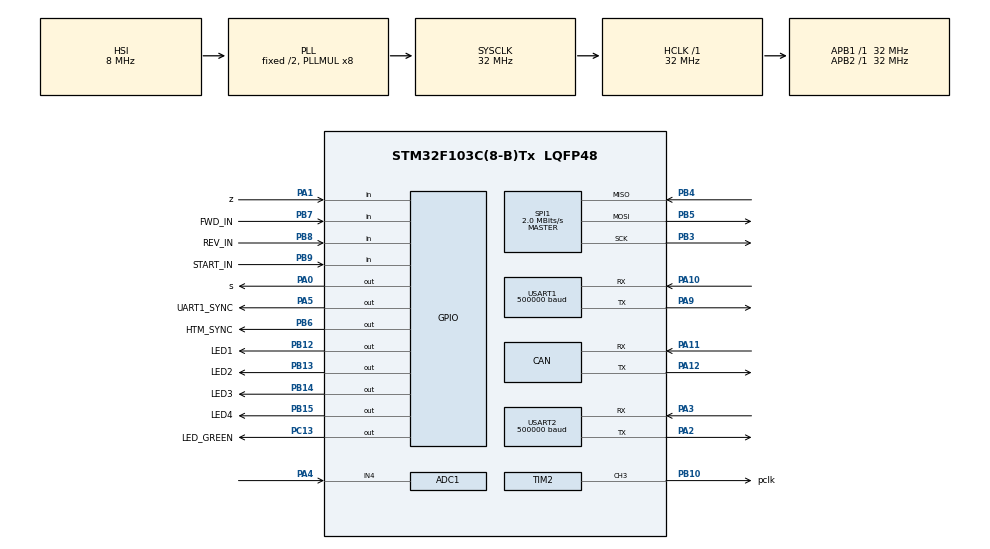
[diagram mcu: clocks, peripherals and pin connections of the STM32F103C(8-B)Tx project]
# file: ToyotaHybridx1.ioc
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ADC1.Channel-3\#ChannelRegularConversion=ADC_CHANNEL_4
ADC1.NbrOfConversionFlag=1
ADC1.Rank-3\#ChannelRegularConversion=1
ADC1.SamplingTime-3\#ChannelRegularConversion=ADC_SAMPLETIME_1CYCLE_5
ADC1.master=1
CAN.CalculateTimeBit=1500
CAN.CalculateTimeQuantum=500.0
Dma.Request0=SPI1_RX
Dma.Request1=SPI1_TX
Dma.SPI1_RX.0.Direction=DMA_PERIPH_TO_MEMORY
Dma.SPI1_RX.0.Instance=DMA1_Channel2
Dma.SPI1_RX.0.MemDataAlignment=DMA_MDATAALIGN_BYTE
Dma.SPI1_RX.0.MemInc=DMA_MINC_ENABLE
Dma.SPI1_RX.0.Mode=DMA_NORMAL
Dma.SPI1_RX.0.PeriphDataAlignment=DMA_PDATAALIGN_BYTE
Dma.SPI1_RX.0.PeriphInc=DMA_PINC_DISABLE
Dma.SPI1_RX.0.Priority=DMA_PRIORITY_LOW
Dma.SPI1_TX.1.Direction=DMA_MEMORY_TO_PERIPH
Dma.SPI1_TX.1.Instance=DMA1_Channel3
Dma.SPI1_TX.1.MemDataAlignment=DMA_MDATAALIGN_BYTE
Dma.SPI1_TX.1.MemInc=DMA_MINC_ENABLE
Dma.SPI1_TX.1.Mode=DMA_NORMAL
Dma.SPI1_TX.1.PeriphDataAlignment=DMA_PDATAALIGN_BYTE
Dma.SPI1_TX.1.PeriphInc=DMA_PINC_DISABLE
Dma.SPI1_TX.1.Priority=DMA_PRIORITY_LOW
Mcu.Family=STM32F1
Mcu.Name=STM32F103C(8-B)Tx
Mcu.Package=LQFP48
NVIC.DMA1_Channel2_IRQn=true\:0\:0\:false\:false\:true\:false\:true
NVIC.DMA1_Channel3_IRQn=true\:0\:0\:false\:false\:true\:false\:true
NVIC.PriorityGroup=NVIC_PRIORITYGROUP_4
NVIC.TIM1_UP_IRQn=true\:0\:0\:false\:false\:true\:false\:true
NVIC.TIM2_IRQn=true\:0\:0\:false\:false\:true\:true\:true
NVIC.TimeBase=TIM1_UP_IRQn
NVIC.TimeBaseIP=TIM1
NVIC.USART1_IRQn=true\:0\:0\:false\:false\:true\:true\:true
NVIC.USART2_IRQn=true\:0\:0\:false\:false\:true\:true\:false
PA0-WKUP.GPIO_Label=s
PA0-WKUP.Signal=GPIO_Output
PA1.GPIO_Label=z
PA1.Signal=GPIO_Input
PA10.Mode=Asynchronous
PA10.Signal=USART1_RX
PA11.Mode=Master
PA11.Signal=CAN_RX
PA12.Mode=Master
PA12.Signal=CAN_TX
PA13.Mode=Serial_Wire
PA13.Signal=SYS_JTMS-SWDIO
PA14.Mode=Serial_Wire
PA14.Signal=SYS_JTCK-SWCLK
PA2.Mode=Asynchronous
PA2.Signal=USART2_TX
PA3.Mode=Asynchronous
PA3.Signal=USART2_RX
PA4.Signal=ADCx_IN4
PA5.GPIO_Label=UART1_SYNC
PA5.Signal=GPIO_Output
PA9.Mode=Asynchronous
PA9.Signal=USART1_TX
PB10.GPIO_Label=pclk
PB10.Signal=S_TIM2_CH3
PB12.GPIO_Label=LED1
PB12.Signal=GPIO_Output
PB13.GPIO_Label=LED2
PB13.Signal=GPIO_Output
PB14.GPIO_Label=LED3
PB14.Signal=GPIO_Output
PB15.GPIO_Label=LED4
PB15.Signal=GPIO_Output
PB3.Mode=Full_Duplex_Master
PB3.Signal=SPI1_SCK
PB4.Mode=Full_Duplex_Master
PB4.Signal=SPI1_MISO
PB5.Mode=Full_Duplex_Master
PB5.Signal=SPI1_MOSI
PB6.GPIO_Label=HTM_SYNC
PB6.Signal=GPIO_Output
PB7.GPIO_Label=FWD_IN
PB7.GPIO_PuPd=GPIO_PULLUP
PB7.Signal=GPIO_Input
PB8.GPIO_Label=REV_IN
PB8.GPIO_PuPd=GPIO_PULLUP
PB8.Signal=GPIO_Input
PB9.GPIO_Label=START_IN
PB9.GPIO_PuPd=GPIO_PULLUP
PB9.Signal=GPIO_Input
PC13-TAMPER-RTC.GPIO_Label=LED_GREEN
PC13-TAMPER-RTC.Signal=GPIO_Output
ProjectManager.HeapSize=0x200
ProjectManager.StackSize=0x400
ProjectManager.TargetToolchain=TrueSTUDIO
RCC.ADCPresc=RCC_ADCPCLK2_DIV8
RCC.AHBFreq_Value=32000000
RCC.APB1Freq_Value=32000000
RCC.APB1TimFreq_Value=32000000
RCC.APB2Freq_Value=32000000
RCC.APB2TimFreq_Value=32000000
RCC.HCLKFreq_Value=32000000
RCC.PLLMUL=RCC_PLL_MUL8
RCC.SYSCLKFreq_VALUE=32000000
RCC.SYSCLKSource=RCC_SYSCLKSOURCE_PLLCLK
RCC.USBFreq_Value=32000000
SH.ADCx_IN4.0=ADC1_IN4,IN4
SH.S_TIM2_CH3.0=TIM2_CH3,PWM Generation3 CH3
SPI1.BaudRatePrescaler=SPI_BAUDRATEPRESCALER_16
SPI1.CLKPhase=SPI_PHASE_2EDGE
SPI1.CLKPolarity=SPI_POLARITY_LOW
SPI1.CalculateBaudRate=2.0 MBits/s
SPI1.DataSize=SPI_DATASIZE_8BIT
SPI1.Direction=SPI_DIRECTION_2LINES
SPI1.FirstBit=SPI_FIRSTBIT_LSB
SPI1.Mode=SPI_MODE_MASTER
SPI1.VirtualType=VM_MASTER
TIM2.Channel-PWM\ Generation3\ CH3=TIM_CHANNEL_3
TIM2.Period=63
TIM2.Pulse-PWM\ Generation3\ CH3=32
TIM2.TIM_MasterOutputTrigger=TIM_TRGO_UPDATE
TIM3.Period=1000
TIM3.Prescaler=20000
USART1.BaudRate=500000
USART1.VirtualMode=VM_ASYNC
USART2.BaudRate=500000
USART2.VirtualMode=VM_ASYNC
VP_SYS_VS_tim1.Mode=TIM1
VP_TIM2_VS_ClockSourceINT.Mode=Internal
VP_TIM3_VS_ClockSourceINT.Mode=Internal
VP_TIM3_VS_OPM.Mode=OPM_bit
board=custom

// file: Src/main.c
/* USER CODE BEGIN Header */
/**
  ******************************************************************************
  * @file           : main.c
  * @brief          : Main program body
  ******************************************************************************
  * @attention
  *
  * <h2><center>&copy; Copyright (c) 2019 STMicroelectronics.
  * All rights reserved.</center></h2>
  *
  * This software component is licensed by ST under Ultimate Liberty license
  * SLA0044, the "License"; You may not use this file except in compliance with
  * the License. You may obtain a copy of the License at:
  *                             www.st.com/SLA0044
  *
  ******************************************************************************
  */
/* USER CODE END Header */

#include "main.h"

/* USER CODE BEGIN Includes */
#include <string.h>
//#include <stdio.h>
/* USER CODE END Includes */

ADC_HandleTypeDef hadc1;

CAN_HandleTypeDef hcan;

SPI_HandleTypeDef hspi1;
DMA_HandleTypeDef hdma_spi1_rx;
DMA_HandleTypeDef hdma_spi1_tx;

TIM_HandleTypeDef htim2;
TIM_HandleTypeDef htim3;

UART_HandleTypeDef huart1;
UART_HandleTypeDef huart2;

void SystemClock_Config(void);
static void MX_GPIO_Init(void);
static void MX_DMA_Init(void);
static void MX_USART1_UART_Init(void);
static void MX_CAN_Init(void);
static void MX_TIM3_Init(void);
static void MX_USART2_UART_Init(void);
static void MX_SPI1_Init(void);
static void MX_TIM2_Init(void);
static void MX_ADC1_Init(void);
/* USER CODE BEGIN PFP */
//uint8_t htm_data[80];
uint8_t mth_data[200]={};
uint8_t dma_complete;

uint8_t htm_state = 0;

//80 bytes out and 100 bytes back in (with offset of 8 bytes.
uint8_t htm_data_setup[80]={0,0,0,0,0,0,0,0,0,0,0,0,0,0,0,0,4,0,0,0,0,0,0,0,0,0,0,0,0,0,0,0,0,0,0,0,0,4,0,0,0,0,0,0,0,0,0,0,0,0,0,0,0,0,0,0,0,0,0,0,4,0,25,0,0,0,0,0,0,0,128,0,0,0,128,0,0,0,37,1};
uint8_t htm_data[80]={0,0,0,0,0,0,0,0,0,0,0,0,0,0,0,0,0,0,0,0,0,0,0,0,0,0,0,0,0,0,0,0,0,0,0,0,0,0,0,0,0,0,0,0,0,0,0,0,0,0,0,0,0,0,0,0,0,0,0,0,0,0,0,0,0,0,0,0,0,0,255,0,0,0,0,0,0,0,0,0};

uint8_t CalcMTHChecksum(void);
void CalcHTMChecksum(void);

void UpdateHTMState1Ms(void);
void UpdateHTMParams(void);

float CalcTemp(uint32_t raw);
uint16_t PackHTMData(uint8_t *, uint8_t *, uint16_t );
uint16_t UnpackMTHData(uint8_t *, uint8_t *, uint16_t, uint16_t );

#define MG2MAXSPEED 10000

#if __GNUC__
  /* With GCC/RAISONANCE, small printf (option LD Linker->Libraries->Small printf
     set to 'Yes') calls __io_putchar() */
  #define PUTCHAR_PROTOTYPE int __io_putchar(int ch)
#else
  #define PUTCHAR_PROTOTYPE int fputc(int ch, FILE *f)
#endif /* __GNUC__ */

/* USER CODE END PFP */

/* USER CODE BEGIN 0 */

uint16_t counter, rx_buffer_count;
;
uint8_t uart1_rx_buffer[10], uart2_rx_buffer[10];

enum{
	PARK,
	REVERSE,
	NEUTRAL,
	DRIVE
};

void get_gear();

uint16_t get_torque(uint8_t gear);

long map(long x, long in_min, long in_max, long out_min, long out_max);

#define MAX_COMMAND_SIZE 200

void HAL_UART_RxCpltCallback(UART_HandleTypeDef *huart){

	 if ( huart->Instance == USART2 ){

			if(rx_buffer_count<MAX_COMMAND_SIZE){

				mth_data[rx_buffer_count]=uart2_rx_buffer[0];
				rx_buffer_count++;
			}

			HAL_UART_Receive_IT(&huart2,uart2_rx_buffer,1);

	 }

}

/**
  * @brief  Retargets the C library printf function to the USART.
  * @param  None
  * @retval None
  */
PUTCHAR_PROTOTYPE
{
  /* Place your implementation of fputc here */
  /* e.g. write a character to the EVAL_COM1 and Loop until the end of transmission */
 // HAL_UART_Transmit(&huart1, (uint8_t *)&ch, 1, 0xFFFF);

  return ch;
}
int _write(int file, char *ptr, int len)
{
	int DataIdx;

	for (DataIdx = 0; DataIdx < len; DataIdx++)
	{
		__io_putchar(*ptr++);
	}
	return len;
}

uint8_t txDat[256]={0};
uint8_t rxDat[256]={0};

static uint16_t htm_checksum;
static int16_t dc_bus_voltage,temp_inv_water, temp_inv_inductor, mg1_speed, mg2_speed;
static int16_t mg1_torque, mg2_torque, speedSum;
static uint8_t gear;
static uint8_t inv_status = 1;

/* USER CODE END 0 */

int main(void)
{

  /* MCU Configuration--------------------------------------------------------*/

  /* Reset of all peripherals, Initializes the Flash interface and the Systick. */
  HAL_Init();

  /* Configure the system clock */
  SystemClock_Config();

  /* Initialize all configured peripherals */
  MX_GPIO_Init();
  MX_DMA_Init();
  MX_USART1_UART_Init();
  MX_CAN_Init();
  MX_TIM3_Init();
  MX_USART2_UART_Init();
  MX_SPI1_Init();
  MX_TIM2_Init();
  MX_ADC1_Init();
  /* USER CODE BEGIN 2 */

 // HAL_ADC_Start_DMA(&hadc1, adc_vals, 3);
 // HAL_UART_Receive_IT(&husart1,uart1_rx_buffer,1);

  HAL_UART_Receive_IT(&huart2,uart2_rx_buffer,1);

  /* USER CODE END 2 */

  /* Infinite loop */
  /* USER CODE BEGIN WHILE */

  //HAL_USART_Transmit(&husart2, (uint8_t*)buffer, 1, 1000);
 // husart2.Instance->DR=0x34;

 // HAL_GPIO_WritePin(HTM_SYNC_GPIO_Port, HTM_SYNC_Pin,1);
 // HAL_Delay(500);

  HAL_ADC_Start(&hadc1);

  __HAL_TIM_ENABLE_OCxPRELOAD(&htim2, TIM_CHANNEL_3);
    HAL_TIM_PWM_Start(&htim2, TIM_CHANNEL_3);

  HAL_GPIO_WritePin(HTM_SYNC_GPIO_Port, HTM_SYNC_Pin,1);
  HAL_Delay(200);

  //checksum for setup data!
  htm_checksum=0;
  for(int i=0;i<78;i++)htm_checksum+=htm_data_setup[i];
  htm_data_setup[78]=htm_checksum&0xFF;
  htm_data_setup[79]=htm_checksum>>8;

#if 1
  while (1)
  {
    /* USER CODE END WHILE */

    /* USER CODE BEGIN 3 */
	  rx_buffer_count=0;
	  HAL_GPIO_TogglePin(HTM_SYNC_GPIO_Port, HTM_SYNC_Pin);
	  HAL_Delay(1);
	  HAL_GPIO_TogglePin(HTM_SYNC_GPIO_Port, HTM_SYNC_Pin);

	  if(inv_status==0){
		  HAL_UART_Transmit_IT(&huart2, htm_data, 80);
		  }
	  else {
		  HAL_UART_Transmit_IT(&huart2, htm_data_setup, 80);
		  if(mth_data[1]!=0)
				 inv_status--;
		  }

	  HAL_Delay(4);

	  if(CalcMTHChecksum()==0){
			HAL_GPIO_WritePin(LED2_GPIO_Port, LED2_Pin, 1 );
			}
			else{
			//HAL_GPIO_WritePin(LED2_GPIO_Port, LED2_Pin, 0 );
			//exchange data and prepare next HTM frame
			dc_bus_voltage=(((mth_data[82]|mth_data[83]<<8)-5)/2);
			temp_inv_water=(mth_data[42]|mth_data[43]<<8);
			temp_inv_inductor=(mth_data[86]|mth_data[87]<<8);
			mg1_speed=mth_data[6]|mth_data[7]<<8;
			mg2_speed=mth_data[31]|mth_data[32]<<8;

			}

		get_gear();
		mg2_torque=get_torque(gear); // -3500 (reverse) to 3500 (forward)
		mg1_torque=((mg2_torque*5)/4);
		if((mg2_speed>MG2MAXSPEED)||(mg2_speed<-MG2MAXSPEED))mg2_torque=0;
		if(gear==REVERSE)mg1_torque=0;

		//speed feedback
		speedSum=mg2_speed+mg1_speed;
		speedSum/=113;
		htm_data[0]=(uint8_t)speedSum;
		htm_data[75]=(mg1_torque*4)&0xFF;
		htm_data[76]=((mg1_torque*4)>>8);

		//mg1
		htm_data[5]=(mg1_torque*-1)&0xFF;  //negative is forward
		htm_data[6]=((mg1_torque*-1)>>8);
		htm_data[11]=htm_data[5];
		htm_data[12]=htm_data[6];

		//mg2
		htm_data[26]=(mg2_torque)&0xFF; //positive is forward
		htm_data[27]=((mg2_torque)>>8);
		htm_data[32]=htm_data[26];
		htm_data[33]=htm_data[27];

		//checksum
		htm_checksum=0;
		for(int i=0;i<78;i++)htm_checksum+=htm_data[i];
		htm_data[78]=htm_checksum&0xFF;
		htm_data[79]=htm_checksum>>8;

	  mth_data[98]=0;
	  mth_data[99]=0;

	  //HAL_Delay(delay_val++);
	  if(counter>100){
		  HAL_GPIO_TogglePin(LED1_GPIO_Port, LED1_Pin );
		  counter = 0;
	  }
	  else{
		  counter++;
	  }

  }
#else
  while(1){
	  UpdateHTMState1Ms();
	  HAL_Delay(1);
  	  }

#endif

  /* USER CODE END 3 */
}

void SystemClock_Config(void)
{
  RCC_OscInitTypeDef RCC_OscInitStruct = {0};
  RCC_ClkInitTypeDef RCC_ClkInitStruct = {0};
  RCC_PeriphCLKInitTypeDef PeriphClkInit = {0};

  /** Initializes the CPU, AHB and APB busses clocks
  */
  RCC_OscInitStruct.OscillatorType = RCC_OSCILLATORTYPE_HSI;
  RCC_OscInitStruct.HSIState = RCC_HSI_ON;
  RCC_OscInitStruct.HSICalibrationValue = RCC_HSICALIBRATION_DEFAULT;
  RCC_OscInitStruct.PLL.PLLState = RCC_PLL_ON;
  RCC_OscInitStruct.PLL.PLLSource = RCC_PLLSOURCE_HSI_DIV2;
  RCC_OscInitStruct.PLL.PLLMUL = RCC_PLL_MUL8;
  if (HAL_RCC_OscConfig(&RCC_OscInitStruct) != HAL_OK)
  {
    Error_Handler();
  }
  /** Initializes the CPU, AHB and APB busses clocks
  */
  RCC_ClkInitStruct.ClockType = RCC_CLOCKTYPE_HCLK|RCC_CLOCKTYPE_SYSCLK
                              |RCC_CLOCKTYPE_PCLK1|RCC_CLOCKTYPE_PCLK2;
  RCC_ClkInitStruct.SYSCLKSource = RCC_SYSCLKSOURCE_PLLCLK;
  RCC_ClkInitStruct.AHBCLKDivider = RCC_SYSCLK_DIV1;
  RCC_ClkInitStruct.APB1CLKDivider = RCC_HCLK_DIV1;
  RCC_ClkInitStruct.APB2CLKDivider = RCC_HCLK_DIV1;

  if (HAL_RCC_ClockConfig(&RCC_ClkInitStruct, FLASH_LATENCY_1) != HAL_OK)
  {
    Error_Handler();
  }
  PeriphClkInit.PeriphClockSelection = RCC_PERIPHCLK_ADC;
  PeriphClkInit.AdcClockSelection = RCC_ADCPCLK2_DIV8;
  if (HAL_RCCEx_PeriphCLKConfig(&PeriphClkInit) != HAL_OK)
  {
    Error_Handler();
  }
}

static void MX_ADC1_Init(void)
{

  ADC_ChannelConfTypeDef sConfig = {0};

  /** Common config
  */
  hadc1.Instance = ADC1;
  hadc1.Init.ScanConvMode = ADC_SCAN_DISABLE;
  hadc1.Init.ContinuousConvMode = DISABLE;
  hadc1.Init.DiscontinuousConvMode = DISABLE;
  hadc1.Init.ExternalTrigConv = ADC_SOFTWARE_START;
  hadc1.Init.DataAlign = ADC_DATAALIGN_RIGHT;
  hadc1.Init.NbrOfConversion = 1;
  if (HAL_ADC_Init(&hadc1) != HAL_OK)
  {
    Error_Handler();
  }
  /** Configure Regular Channel
  */
  sConfig.Channel = ADC_CHANNEL_4;
  sConfig.Rank = ADC_REGULAR_RANK_1;
  sConfig.SamplingTime = ADC_SAMPLETIME_1CYCLE_5;
  if (HAL_ADC_ConfigChannel(&hadc1, &sConfig) != HAL_OK)
  {
    Error_Handler();
  }

}

static void MX_CAN_Init(void)
{

  hcan.Instance = CAN1;
  hcan.Init.Prescaler = 16;
  hcan.Init.Mode = CAN_MODE_NORMAL;
  hcan.Init.SyncJumpWidth = CAN_SJW_1TQ;
  hcan.Init.TimeSeg1 = CAN_BS1_1TQ;
  hcan.Init.TimeSeg2 = CAN_BS2_1TQ;
  hcan.Init.TimeTriggeredMode = DISABLE;
  hcan.Init.AutoBusOff = DISABLE;
  hcan.Init.AutoWakeUp = DISABLE;
  hcan.Init.AutoRetransmission = DISABLE;
  hcan.Init.ReceiveFifoLocked = DISABLE;
  hcan.Init.TransmitFifoPriority = DISABLE;
  if (HAL_CAN_Init(&hcan) != HAL_OK)
  {
    Error_Handler();
  }

}

static void MX_SPI1_Init(void)
{

  /* SPI1 parameter configuration*/
  hspi1.Instance = SPI1;
  hspi1.Init.Mode = SPI_MODE_MASTER;
  hspi1.Init.Direction = SPI_DIRECTION_2LINES;
  hspi1.Init.DataSize = SPI_DATASIZE_8BIT;
  hspi1.Init.CLKPolarity = SPI_POLARITY_LOW;
  hspi1.Init.CLKPhase = SPI_PHASE_2EDGE;
  hspi1.Init.NSS = SPI_NSS_SOFT;
  hspi1.Init.BaudRatePrescaler = SPI_BAUDRATEPRESCALER_16;
  hspi1.Init.FirstBit = SPI_FIRSTBIT_LSB;
  hspi1.Init.TIMode = SPI_TIMODE_DISABLE;
  hspi1.Init.CRCCalculation = SPI_CRCCALCULATION_DISABLE;
  hspi1.Init.CRCPolynomial = 10;
  if (HAL_SPI_Init(&hspi1) != HAL_OK)
  {
    Error_Handler();
  }

}

static void MX_TIM2_Init(void)
{

  TIM_ClockConfigTypeDef sClockSourceConfig = {0};
  TIM_MasterConfigTypeDef sMasterConfig = {0};
  TIM_OC_InitTypeDef sConfigOC = {0};

  htim2.Instance = TIM2;
  htim2.Init.Prescaler = 0;
  htim2.Init.CounterMode = TIM_COUNTERMODE_UP;
  htim2.Init.Period = 63;
  htim2.Init.ClockDivision = TIM_CLOCKDIVISION_DIV1;
  htim2.Init.AutoReloadPreload = TIM_AUTORELOAD_PRELOAD_DISABLE;
  if (HAL_TIM_Base_Init(&htim2) != HAL_OK)
  {
    Error_Handler();
  }
  sClockSourceConfig.ClockSource = TIM_CLOCKSOURCE_INTERNAL;
  if (HAL_TIM_ConfigClockSource(&htim2, &sClockSourceConfig) != HAL_OK)
  {
    Error_Handler();
  }
  if (HAL_TIM_PWM_Init(&htim2) != HAL_OK)
  {
    Error_Handler();
  }
  sMasterConfig.MasterOutputTrigger = TIM_TRGO_UPDATE;
  sMasterConfig.MasterSlaveMode = TIM_MASTERSLAVEMODE_DISABLE;
  if (HAL_TIMEx_MasterConfigSynchronization(&htim2, &sMasterConfig) != HAL_OK)
  {
    Error_Handler();
  }
  sConfigOC.OCMode = TIM_OCMODE_PWM1;
  sConfigOC.Pulse = 32;
  sConfigOC.OCPolarity = TIM_OCPOLARITY_HIGH;
  sConfigOC.OCFastMode = TIM_OCFAST_DISABLE;
  if (HAL_TIM_PWM_ConfigChannel(&htim2, &sConfigOC, TIM_CHANNEL_3) != HAL_OK)
  {
    Error_Handler();
  }
  HAL_TIM_MspPostInit(&htim2);

}

static void MX_TIM3_Init(void)
{

  TIM_ClockConfigTypeDef sClockSourceConfig = {0};
  TIM_MasterConfigTypeDef sMasterConfig = {0};

  htim3.Instance = TIM3;
  htim3.Init.Prescaler = 20000;
  htim3.Init.CounterMode = TIM_COUNTERMODE_UP;
  htim3.Init.Period = 1000;
  htim3.Init.ClockDivision = TIM_CLOCKDIVISION_DIV1;
  htim3.Init.AutoReloadPreload = TIM_AUTORELOAD_PRELOAD_DISABLE;
  if (HAL_TIM_Base_Init(&htim3) != HAL_OK)
  {
    Error_Handler();
  }
  sClockSourceConfig.ClockSource = TIM_CLOCKSOURCE_INTERNAL;
  if (HAL_TIM_ConfigClockSource(&htim3, &sClockSourceConfig) != HAL_OK)
  {
    Error_Handler();
  }
  if (HAL_TIM_OnePulse_Init(&htim3, TIM_OPMODE_SINGLE) != HAL_OK)
  {
    Error_Handler();
  }
  sMasterConfig.MasterOutputTrigger = TIM_TRGO_RESET;
  sMasterConfig.MasterSlaveMode = TIM_MASTERSLAVEMODE_DISABLE;
  if (HAL_TIMEx_MasterConfigSynchronization(&htim3, &sMasterConfig) != HAL_OK)
  {
    Error_Handler();
  }

}

static void MX_USART1_UART_Init(void)
{

  huart1.Instance = USART1;
  huart1.Init.BaudRate = 500000;
  huart1.Init.WordLength = UART_WORDLENGTH_8B;
  huart1.Init.StopBits = UART_STOPBITS_1;
  huart1.Init.Parity = UART_PARITY_NONE;
  huart1.Init.Mode = UART_MODE_TX_RX;
  huart1.Init.HwFlowCtl = UART_HWCONTROL_NONE;
  huart1.Init.OverSampling = UART_OVERSAMPLING_16;
  if (HAL_UART_Init(&huart1) != HAL_OK)
  {
    Error_Handler();
  }

}

static void MX_USART2_UART_Init(void)
{

  huart2.Instance = USART2;
  huart2.Init.BaudRate = 500000;
  huart2.Init.WordLength = UART_WORDLENGTH_8B;
  huart2.Init.StopBits = UART_STOPBITS_1;
  huart2.Init.Parity = UART_PARITY_NONE;
  huart2.Init.Mode = UART_MODE_TX_RX;
  huart2.Init.HwFlowCtl = UART_HWCONTROL_NONE;
  huart2.Init.OverSampling = UART_OVERSAMPLING_16;
  if (HAL_UART_Init(&huart2) != HAL_OK)
  {
    Error_Handler();
  }

}

static void MX_DMA_Init(void)
{

  /* DMA controller clock enable */
  __HAL_RCC_DMA1_CLK_ENABLE();

  /* DMA interrupt init */
  /* DMA1_Channel2_IRQn interrupt configuration */
  HAL_NVIC_SetPriority(DMA1_Channel2_IRQn, 0, 0);
  HAL_NVIC_EnableIRQ(DMA1_Channel2_IRQn);
  /* DMA1_Channel3_IRQn interrupt configuration */
  HAL_NVIC_SetPriority(DMA1_Channel3_IRQn, 0, 0);
  HAL_NVIC_EnableIRQ(DMA1_Channel3_IRQn);

}

static void MX_GPIO_Init(void)
{
  GPIO_InitTypeDef GPIO_InitStruct = {0};

  /* GPIO Ports Clock Enable */
  __HAL_RCC_GPIOC_CLK_ENABLE();
  __HAL_RCC_GPIOA_CLK_ENABLE();
  __HAL_RCC_GPIOB_CLK_ENABLE();

  /*Configure GPIO pin Output Level */
  HAL_GPIO_WritePin(LED_GREEN_GPIO_Port, LED_GREEN_Pin, GPIO_PIN_RESET);

  /*Configure GPIO pin Output Level */
  HAL_GPIO_WritePin(GPIOA, s_Pin|UART1_SYNC_Pin, GPIO_PIN_RESET);

  /*Configure GPIO pin Output Level */
  HAL_GPIO_WritePin(GPIOB, LED1_Pin|LED2_Pin|LED3_Pin|LED4_Pin
                          |HTM_SYNC_Pin, GPIO_PIN_RESET);

  /*Configure GPIO pin : LED_GREEN_Pin */
  GPIO_InitStruct.Pin = LED_GREEN_Pin;
  GPIO_InitStruct.Mode = GPIO_MODE_OUTPUT_PP;
  GPIO_InitStruct.Pull = GPIO_NOPULL;
  GPIO_InitStruct.Speed = GPIO_SPEED_FREQ_LOW;
  HAL_GPIO_Init(LED_GREEN_GPIO_Port, &GPIO_InitStruct);

  /*Configure GPIO pins : s_Pin UART1_SYNC_Pin */
  GPIO_InitStruct.Pin = s_Pin|UART1_SYNC_Pin;
  GPIO_InitStruct.Mode = GPIO_MODE_OUTPUT_PP;
  GPIO_InitStruct.Pull = GPIO_NOPULL;
  GPIO_InitStruct.Speed = GPIO_SPEED_FREQ_LOW;
  HAL_GPIO_Init(GPIOA, &GPIO_InitStruct);

  /*Configure GPIO pin : z_Pin */
  GPIO_InitStruct.Pin = z_Pin;
  GPIO_InitStruct.Mode = GPIO_MODE_INPUT;
  GPIO_InitStruct.Pull = GPIO_NOPULL;
  HAL_GPIO_Init(z_GPIO_Port, &GPIO_InitStruct);

  /*Configure GPIO pins : LED1_Pin LED2_Pin LED3_Pin LED4_Pin
                           HTM_SYNC_Pin */
  GPIO_InitStruct.Pin = LED1_Pin|LED2_Pin|LED3_Pin|LED4_Pin
                          |HTM_SYNC_Pin;
  GPIO_InitStruct.Mode = GPIO_MODE_OUTPUT_PP;
  GPIO_InitStruct.Pull = GPIO_NOPULL;
  GPIO_InitStruct.Speed = GPIO_SPEED_FREQ_LOW;
  HAL_GPIO_Init(GPIOB, &GPIO_InitStruct);

  /*Configure GPIO pins : FWD_IN_Pin REV_IN_Pin START_IN_Pin */
  GPIO_InitStruct.Pin = FWD_IN_Pin|REV_IN_Pin|START_IN_Pin;
  GPIO_InitStruct.Mode = GPIO_MODE_INPUT;
  GPIO_InitStruct.Pull = GPIO_PULLUP;
  HAL_GPIO_Init(GPIOB, &GPIO_InitStruct);

}

/* USER CODE BEGIN 4 */

float V25 = 1.43;
float Avg_Slope = 0.0043;
float step_size = 3.3/4096;

float CalcTemp(uint32_t raw){
	float raw_val = raw;

	float VSENSE = step_size * raw_val;
	return ((VSENSE-V25)/Avg_Slope)+25;

}

uint8_t CalcMTHChecksum(void){

	uint16_t mth_checksum=0;

	for(int i=0;i<98;i++)mth_checksum+=mth_data[i];

  if(mth_checksum==(mth_data[98]|(mth_data[99]<<8))) return 1;
  else return 0;

}

void CalcHTMChecksum(void){

uint16_t htm_checksum=0;

  for(int i=0;i<78;i++)htm_checksum+=htm_data[i];
  htm_data[78]=htm_checksum&0xFF;
  htm_data[79]=htm_checksum>>8;

}

uint16_t data[200]={0xFF,0xFF,0xFF,0xFF};
uint16_t tx_data[220];

#define SetBit(A,k)     ( A[(k)/8] |= (1 << ((k)%8)) )
#define ClearBit(A,k)   ( A[(k)/8] &= ~(1 << ((k)%8)) )
#define TestBit(A,k)    ( A[(k)/8] & (1 << ((k)%8)) )

uint16_t PackHTMData(uint8_t *data_in, uint8_t *data_out, uint16_t len){

	// prepare the out buffer, which is 20% bigger due to start and stop bits :-
	uint16_t out_len_bytes;
	uint16_t out_len_bits = len * 10;
	uint32_t *out_ptr;

	out_len_bytes = out_len_bits/8;
	if(out_len_bits%8){
		out_len_bytes++;
	}

	uint16_t bit_count=0;
	uint8_t mask;

	out_ptr= (uint32_t *)data_out;
	for(int i =0 ; i < out_len_bytes; i++){
		data_out[i]=0xff;
		//out_ptr=0xFFFFFFFF;
		//out_ptr++;
	}

	return out_len_bytes;

	 for(int i =0 ; i<len; i++){
	         ClearBit(data_out, bit_count);
	          bit_count++;

	         mask = 1;
	         for(int bit =0; bit < 8; bit++){
	             if(mask & data_in[i]){
	                SetBit(data_out, bit_count); //don't need to set bits as they are already set!
	                bit_count++;
	             }
	             else{
	                ClearBit(data_out, bit_count);
	                bit_count++;
	             }
	             mask<<=1;
	         }

	         SetBit(data_out, bit_count); //don't need to set bits as they are already set!
	         bit_count++;
	    }

	return out_len_bytes;
}

static uint16_t decode_errors =0;

uint16_t UnpackMTHData(uint8_t *data_in, uint8_t *data_out, uint16_t len, uint16_t offset){
	uint16_t out_bit_count = 0, bit_num;

	uint16_t out_len_bits = len * 10;
	//uint16_t out_len_bytes = out_len_bits/ 8;

	//data_out+= offset;

	//Extract out bit /  byte!
	out_bit_count=0;
	for(int i =offset ; i<out_len_bits; i++){

			bit_num=i-offset;

	        if(bit_num%10==0){ //start bit
	            if(TestBit(data_in,bit_num)!=0){
	                // we should not have got 1 here
	                decode_errors++;
	            }
	            continue;
	        }

	        if( (bit_num+1)%10==0){ //stop bit
	            if(TestBit(data_in,bit_num)==0){
	                //should not have got a 1 here
	                decode_errors++;
	            }
	            continue;
	        }

			if(TestBit(data_in,bit_num)){
			    SetBit(data_out,out_bit_count);
				out_bit_count++;
			}
			else{

				ClearBit(data_out,out_bit_count);
				out_bit_count++;
			}

	 }

	if(decode_errors>0){
		//HAL_GPIO_WritePin(LED2_GPIO_Port, LED2_Pin, 1 );
	}
	else{
		//HAL_GPIO_WritePin(LED2_GPIO_Port, LED2_Pin, 0 );
	}

	return len; //out_len_bytes;

}

void get_gear()
{
  if(HAL_GPIO_ReadPin(FWD_IN_GPIO_Port, FWD_IN_Pin)==0)
  {
  gear = DRIVE;
  HAL_GPIO_WritePin(LED3_GPIO_Port, LED3_Pin, 1);
  }

  if(HAL_GPIO_ReadPin(REV_IN_GPIO_Port, REV_IN_Pin)==0)
  {
  gear = REVERSE;
  HAL_GPIO_WritePin(LED3_GPIO_Port, LED3_Pin, 1);
  }

}

uint16_t get_torque(uint8_t gear)
{
  //accelerator pedal mapping to torque values here
  uint16_t ThrotVal=HAL_ADC_GetValue(&hadc1);
  if (ThrotVal<80) ThrotVal=75;//dead zone at start of throttle travel
  if (ThrotVal>2000) ThrotVal=2000;

 if(gear==DRIVE) ThrotVal = map(ThrotVal, 75, 2000, 0, 1000);
 if(gear==REVERSE) ThrotVal = map(ThrotVal, 75, 2000, 0, -1000);
  return ThrotVal; //return torque
}

long map(long x, long in_min, long in_max, long out_min, long out_max)
{
  return (x - in_min) * (out_max - out_min) / (in_max - in_min) + out_min;
}

void UpdateHTMState1Ms(void){

	switch(htm_state){

	case 0:
		rx_buffer_count=0;
		HAL_GPIO_WritePin(HTM_SYNC_GPIO_Port, HTM_SYNC_Pin, 0);
		htm_state++;
	break;

	case 1:
		HAL_GPIO_WritePin(HTM_SYNC_GPIO_Port, HTM_SYNC_Pin, 1);

		if(inv_status==0){
			  HAL_UART_Transmit_IT(&huart2, htm_data, 80);
			  }
		 else {
			  HAL_UART_Transmit_IT(&huart2, htm_data_setup, 80);
			  if(mth_data[1]!=0)
					 inv_status--;
			  }
		htm_state++;
	break;

	case 2:
		htm_state++;
	break;

	case 3:
		if(CalcMTHChecksum()==0 || rx_buffer_count!=100){
					HAL_GPIO_WritePin(LED2_GPIO_Port, LED2_Pin, 1 );
					}
				else{
					//HAL_GPIO_WritePin(LED2_GPIO_Port, LED2_Pin, 0 );
					//exchange data and prepare next HTM frame
					dc_bus_voltage=(((mth_data[82]|mth_data[83]<<8)-5)/2);
					temp_inv_water=(mth_data[42]|mth_data[43]<<8);
					temp_inv_inductor=(mth_data[86]|mth_data[87]<<8);
					mg1_speed=mth_data[6]|mth_data[7]<<8;
					mg2_speed=mth_data[31]|mth_data[32]<<8;
					}

		mth_data[98]=0;
		mth_data[99]=0;

		htm_state++;
	break;

	case 4:
		 UpdateHTMParams();

			 if(counter>100){
					  HAL_GPIO_TogglePin(LED1_GPIO_Port, LED1_Pin );
					  counter = 0;
				  }
				  else{
					  counter++;
				  }

			htm_state=0;
		break;

	case 5:

	break;

	}
}

void UpdateHTMParams(void){
	get_gear();
	mg2_torque=get_torque(gear); // -3500 (reverse) to 3500 (forward)
	mg1_torque=((mg2_torque*5)/4);
	if((mg2_speed>MG2MAXSPEED)||(mg2_speed<-MG2MAXSPEED))mg2_torque=0;
	if(gear==REVERSE)mg1_torque=0;

	//speed feedback
	speedSum=mg2_speed+mg1_speed;
	speedSum/=113;
	htm_data[0]=(uint8_t)speedSum;
	htm_data[75]=(mg1_torque*4)&0xFF;
	htm_data[76]=((mg1_torque*4)>>8);

	//mg1
	htm_data[5]=(mg1_torque*-1)&0xFF;  //negative is forward
	htm_data[6]=((mg1_torque*-1)>>8);
	htm_data[11]=htm_data[5];
	htm_data[12]=htm_data[6];

	//mg2
	htm_data[26]=(mg2_torque)&0xFF; //positive is forward
	htm_data[27]=((mg2_torque)>>8);
	htm_data[32]=htm_data[26];
	htm_data[33]=htm_data[27];

	//checksum
	htm_checksum=0;
	for(int i=0;i<78;i++)htm_checksum+=htm_data[i];
	htm_data[78]=htm_checksum&0xFF;
	htm_data[79]=htm_checksum>>8;

}

/* USER CODE END 4 */

void HAL_TIM_PeriodElapsedCallback(TIM_HandleTypeDef *htim)
{
  if (htim->Instance == TIM1) {
    HAL_IncTick();
  }
}

void Error_Handler(void)
{
}

/************************ (C) COPYRIGHT STMicroelectronics *****END OF FILE****/
